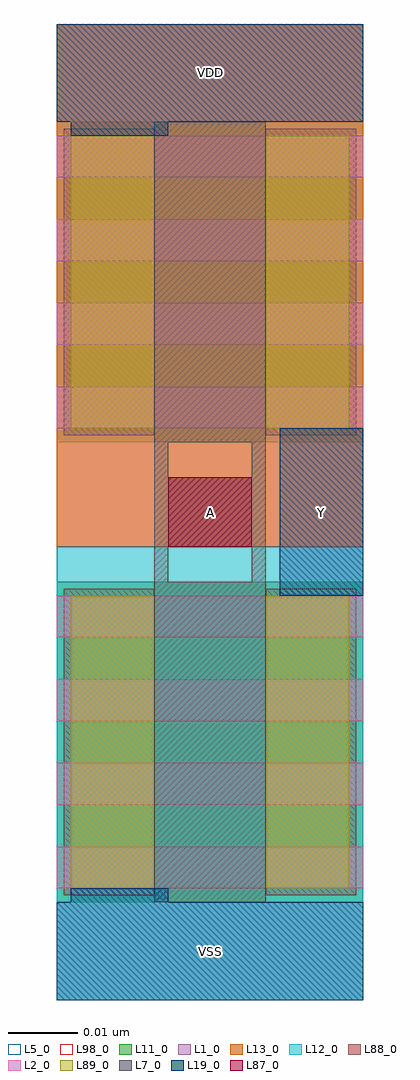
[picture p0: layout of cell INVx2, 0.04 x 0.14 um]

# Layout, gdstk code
import gdstk
lib = gdstk.Library(unit=1e-6, precision=1e-12)
def R(c, l, rs):  # rectangles x0, y0, x1, y1
    for r in rs: c.add(gdstk.rectangle(r[:2], r[2:], *l))
def A(c, l, x, y, w, h, nx, ny, dx, dy):  # array of equal rectangles
    R(c, l, [(x+i*dx, y+j*dy, x+i*dx+w, y+j*dy+h) for i in range(nx) for j in range(ny)])
L1_0 = (1, 0)
L2_0 = (2, 0)
L5_0 = (5, 0)
L7_0 = (7, 0)
L11_0 = (11, 0)
L12_0 = (12, 0)
L13_0 = (13, 0)
L19_0 = (19, 0)
L87_0 = (87, 0)
L88_0 = (88, 0)
L89_0 = (89, 0)
L98_0 = (98, 0)

invx2 = lib.new_cell('INVx2')
R(invx2, L1_0, [(0,0.065,0.044,0.14)])
A(invx2, L2_0, 0, 0.016, 0.044, 0.006, 1, 4, 0, 0.012)
A(invx2, L2_0, 0, 0.082, 0.044, 0.006, 1, 4, 0, 0.012)
R(invx2, L5_0, [(0,0,0.044,0.14)])
R(invx2, L7_0, [(0.014,0.014,0.03,0.06), (0.014,0.06,0.016,0.08), (0.028,0.06,0.03,0.08), (0.014,0.065,0.03,0.075), (0.014,0.08,0.03,0.126)])
R(invx2, L11_0, [(0,0.014,0.044,0.06), (0,0.08,0.044,0.126)])
R(invx2, L12_0, [(0,0,0.044,0.065)])
R(invx2, L13_0, [(0,0.065,0.044,0.14)])
R(invx2, L19_0, [(0,0,0.044,0.014), (0.002,0.014,0.016,0.016), (0.032,0.058,0.044,0.082), (0.002,0.124,0.016,0.126), (0,0.126,0.044,0.14)])
R(invx2, L87_0, [(0.016,0.065,0.028,0.075)])
R(invx2, L88_0, [(0.001,0.015,0.014,0.059), (0.03,0.015,0.043,0.059), (0.001,0.081,0.014,0.125), (0.03,0.081,0.043,0.125)])
R(invx2, L89_0, [(0.002,0.016,0.014,0.058), (0.03,0.016,0.042,0.058), (0.002,0.082,0.014,0.124), (0.03,0.082,0.042,0.124)])
R(invx2, L98_0, [(0,0,0.044,0.14)])
invx2.add(gdstk.Label('A', (0.022,0.07), layer=101, texttype=0))
invx2.add(gdstk.Label('Y', (0.038,0.07), layer=101, texttype=0))
invx2.add(gdstk.Label('VDD', (0.022,0.133), layer=101, texttype=0))
invx2.add(gdstk.Label('VSS', (0.022,0.007), layer=101, texttype=0))

lib.write_gds('INVx2.gds')
